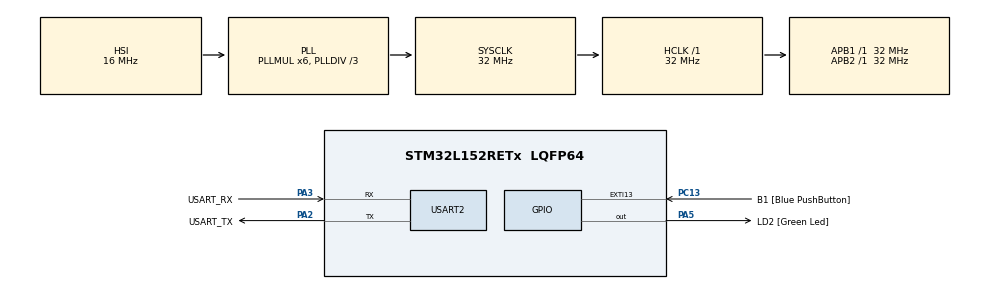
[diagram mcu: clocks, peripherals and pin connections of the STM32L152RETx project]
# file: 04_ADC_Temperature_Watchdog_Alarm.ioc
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ADC.Channel-0\#ChannelRegularConversion=ADC_CHANNEL_TEMPSENSOR
ADC.Channel-1\#ChannelRegularConversion=ADC_CHANNEL_VREFINT
ADC.ContinuousConvMode=ENABLE
ADC.DMAContinuousRequests=ENABLE
ADC.EOCSelection=ADC_EOC_SEQ_CONV
ADC.EnableAnalogWatchDog=true
ADC.ITMode=ENABLE
ADC.NbrOfConversion=2
ADC.NbrOfConversionFlag=1
ADC.Rank-0\#ChannelRegularConversion=1
ADC.Rank-1\#ChannelRegularConversion=2
ADC.SamplingTime-0\#ChannelRegularConversion=ADC_SAMPLETIME_384CYCLES
ADC.SamplingTime-1\#ChannelRegularConversion=ADC_SAMPLETIME_384CYCLES
ADC.ScanConvMode=ADC_SCAN_ENABLE
ADC.WatchdogChannel=ADC_CHANNEL_TEMPSENSOR
Dma.ADC.0.Direction=DMA_PERIPH_TO_MEMORY
Dma.ADC.0.Instance=DMA1_Channel1
Dma.ADC.0.MemDataAlignment=DMA_MDATAALIGN_HALFWORD
Dma.ADC.0.MemInc=DMA_MINC_ENABLE
Dma.ADC.0.Mode=DMA_CIRCULAR
Dma.ADC.0.PeriphDataAlignment=DMA_PDATAALIGN_HALFWORD
Dma.ADC.0.PeriphInc=DMA_PINC_DISABLE
Dma.ADC.0.Priority=DMA_PRIORITY_VERY_HIGH
Dma.Request0=ADC
Mcu.Family=STM32L1
Mcu.Name=STM32L152RETx
Mcu.Package=LQFP64
NVIC.ADC1_IRQn=true\:0\:0\:false\:false\:true\:true\:true\:true
NVIC.DMA1_Channel1_IRQn=true\:0\:0\:false\:false\:true\:false\:true\:true
NVIC.PriorityGroup=NVIC_PRIORITYGROUP_0
PA13.GPIO_Label=TMS
PA13.Mode=Serial_Wire
PA13.Signal=SYS_JTMS-SWDIO
PA14.GPIO_Label=TCK
PA14.Mode=Serial_Wire
PA14.Signal=SYS_JTCK-SWCLK
PA2.GPIO_Label=USART_TX
PA2.Mode=Asynchronous
PA2.Signal=USART2_TX
PA3.GPIO_Label=USART_RX
PA3.Mode=Asynchronous
PA3.Signal=USART2_RX
PA5.GPIO_Label=LD2 [Green Led]
PA5.Signal=GPIO_Output
PB3.GPIO_Label=SWO
PB3.Signal=SYS_JTDO-TRACESWO
PC13-WKUP2.GPIO_Label=B1 [Blue PushButton]
PC13-WKUP2.Signal=GPXTI13
PC14-OSC32_IN.Mode=LSE-External-Oscillator
PC14-OSC32_IN.Signal=RCC_OSC32_IN
PC15-OSC32_OUT.Mode=LSE-External-Oscillator
PC15-OSC32_OUT.Signal=RCC_OSC32_OUT
PH0-OSC_IN.Mode=HSE-External-Clock-Source
PH0-OSC_IN.Signal=RCC_OSC_IN
PH1-OSC_OUT.Signal=RCC_OSC_OUT
ProjectManager.HeapSize=0x200
ProjectManager.StackSize=0x400
ProjectManager.TargetToolchain=Makefile
RCC.48MHZClocksFreq_Value=48000000
RCC.AHBFreq_Value=32000000
RCC.APB1Freq_Value=32000000
RCC.APB1TimFreq_Value=32000000
RCC.APB2Freq_Value=32000000
RCC.APB2TimFreq_Value=32000000
RCC.HCLKFreq_Value=32000000
RCC.HSE_VALUE=8000000
RCC.HSI_VALUE=16000000
RCC.MSI_VALUE=2097000
RCC.PLLDIV=RCC_PLL_DIV3
RCC.PLLMUL=RCC_PLL_MUL6
RCC.RTCClockSelectionVirtual=RCC_RTCCLKSOURCE_LSE
RCC.SYSCLKFreq_VALUE=32000000
RCC.SYSCLKSource=RCC_SYSCLKSOURCE_PLLCLK
RCC.USBOutput=48000000
RCC.VCOOutputFreq_Value=96000000
USART2.VirtualMode=VM_ASYNC
VP_ADC_TempSens_Input.Mode=IN-TempSens
VP_ADC_Vref_Input.Mode=IN-Vrefint
board=NUCLEO-L152RE

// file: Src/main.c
/* USER CODE BEGIN Header */
/**
  ******************************************************************************
  * @file           : main.c
  * @brief          : Main program body
  ******************************************************************************
  * @attention
  *
  * Copyright (c) 2026 STMicroelectronics.
  * All rights reserved.
  *
  * This software is licensed under terms that can be found in the LICENSE file
  * in the root directory of this software component.
  * If no LICENSE file comes with this software, it is provided AS-IS.
  *
  ******************************************************************************
  */
/* USER CODE END Header */
#include "main.h"

/* USER CODE BEGIN Includes */
#include "app.h"
#include "stm32l1xx_hal_adc.h"
#include <stdint.h>
/* USER CODE END Includes */

ADC_HandleTypeDef hadc;
DMA_HandleTypeDef hdma_adc;

UART_HandleTypeDef huart2;

void SystemClock_Config(void);
static void MX_GPIO_Init(void);
static void MX_DMA_Init(void);
static void MX_ADC_Init(void);
static void MX_USART2_UART_Init(void);

/* USER CODE BEGIN 0 */
int _write(int file, char *ptr, int len) {
  HAL_UART_Transmit(&huart2, (uint8_t *)ptr, len, HAL_MAX_DELAY);
  return len;
}
float calculate_vref(uint16_t vref_raw) {
    uint16_t vref_cal = VREFINT_CAL_ADDR;

    // Calculate actual Vdda rail voltage in Volts
    float vref = 3.0f * ((float)vref_cal / (float)vref_raw);

    return vref;
}
uint16_t calculate_temperature_threshold(float temperature, uint16_t vref_raw) {
    uint16_t cal1 = TS_CAL1_ADDR;
    uint16_t cal2 = TS_CAL2_ADDR;

    // Calculate slope: ADC counts per degree Celsius at 3.0V Vdda
    float slope = ((float)cal2 - (float)cal1) / (TS_CAL2_CELSIUS - TS_CAL1_CELSIUS);

    // Calculate raw threshold at 32°C (3.0V Vdda)
    float raw_3v = (float)cal1 + (slope * (temperature - TS_CAL1_CELSIUS));

    float vref = calculate_vref(vref_raw);
    // Scale for actual system Vdda (e.g., 3.3V)
    float raw_actual = raw_3v * (3.0f / vref);

    return (uint16_t)raw_actual;
}
/* USER CODE END 0 */

int main(void)
{

  /* MCU Configuration--------------------------------------------------------*/

  /* Reset of all peripherals, Initializes the Flash interface and the Systick. */
  HAL_Init();

  /* Configure the system clock */
  SystemClock_Config();

  /* Initialize all configured peripherals */
  MX_GPIO_Init();
  MX_DMA_Init();
  MX_ADC_Init();
  MX_USART2_UART_Init();

  /* Infinite loop */
  /* USER CODE BEGIN WHILE */
  app_main();
    /* USER CODE END WHILE */

}

void SystemClock_Config(void)
{
  RCC_OscInitTypeDef RCC_OscInitStruct = {0};
  RCC_ClkInitTypeDef RCC_ClkInitStruct = {0};

  /** Configure the main internal regulator output voltage
  */
  __HAL_PWR_VOLTAGESCALING_CONFIG(PWR_REGULATOR_VOLTAGE_SCALE1);

  /** Initializes the RCC Oscillators according to the specified parameters
  * in the RCC_OscInitTypeDef structure.
  */
  RCC_OscInitStruct.OscillatorType = RCC_OSCILLATORTYPE_HSI;
  RCC_OscInitStruct.HSIState = RCC_HSI_ON;
  RCC_OscInitStruct.HSICalibrationValue = RCC_HSICALIBRATION_DEFAULT;
  RCC_OscInitStruct.PLL.PLLState = RCC_PLL_ON;
  RCC_OscInitStruct.PLL.PLLSource = RCC_PLLSOURCE_HSI;
  RCC_OscInitStruct.PLL.PLLMUL = RCC_PLL_MUL6;
  RCC_OscInitStruct.PLL.PLLDIV = RCC_PLL_DIV3;
  if (HAL_RCC_OscConfig(&RCC_OscInitStruct) != HAL_OK)
  {
    Error_Handler();
  }

  /** Initializes the CPU, AHB and APB buses clocks
  */
  RCC_ClkInitStruct.ClockType = RCC_CLOCKTYPE_HCLK|RCC_CLOCKTYPE_SYSCLK
                              |RCC_CLOCKTYPE_PCLK1|RCC_CLOCKTYPE_PCLK2;
  RCC_ClkInitStruct.SYSCLKSource = RCC_SYSCLKSOURCE_PLLCLK;
  RCC_ClkInitStruct.AHBCLKDivider = RCC_SYSCLK_DIV1;
  RCC_ClkInitStruct.APB1CLKDivider = RCC_HCLK_DIV1;
  RCC_ClkInitStruct.APB2CLKDivider = RCC_HCLK_DIV1;

  if (HAL_RCC_ClockConfig(&RCC_ClkInitStruct, FLASH_LATENCY_1) != HAL_OK)
  {
    Error_Handler();
  }
}

static void MX_ADC_Init(void)
{

  ADC_AnalogWDGConfTypeDef AnalogWDGConfig = {0};
  ADC_ChannelConfTypeDef sConfig = {0};

  /** Configure the global features of the ADC (Clock, Resolution, Data Alignment and number of conversion)
  */
  hadc.Instance = ADC1;
  hadc.Init.ClockPrescaler = ADC_CLOCK_ASYNC_DIV1;
  hadc.Init.Resolution = ADC_RESOLUTION_12B;
  hadc.Init.DataAlign = ADC_DATAALIGN_RIGHT;
  hadc.Init.ScanConvMode = ADC_SCAN_ENABLE;
  hadc.Init.EOCSelection = ADC_EOC_SEQ_CONV;
  hadc.Init.LowPowerAutoWait = ADC_AUTOWAIT_DISABLE;
  hadc.Init.LowPowerAutoPowerOff = ADC_AUTOPOWEROFF_DISABLE;
  hadc.Init.ChannelsBank = ADC_CHANNELS_BANK_A;
  hadc.Init.ContinuousConvMode = ENABLE;
  hadc.Init.NbrOfConversion = 2;
  hadc.Init.DiscontinuousConvMode = DISABLE;
  hadc.Init.ExternalTrigConv = ADC_SOFTWARE_START;
  hadc.Init.ExternalTrigConvEdge = ADC_EXTERNALTRIGCONVEDGE_NONE;
  hadc.Init.DMAContinuousRequests = ENABLE;
  if (HAL_ADC_Init(&hadc) != HAL_OK)
  {
    Error_Handler();
  }

  /** Configure the analog watchdog
  */
  AnalogWDGConfig.WatchdogMode = ADC_ANALOGWATCHDOG_SINGLE_REG;
  AnalogWDGConfig.Channel = ADC_CHANNEL_TEMPSENSOR;
  AnalogWDGConfig.ITMode = ENABLE;
  AnalogWDGConfig.HighThreshold = 0;
  AnalogWDGConfig.LowThreshold = 0;
  if (HAL_ADC_AnalogWDGConfig(&hadc, &AnalogWDGConfig) != HAL_OK)
  {
    Error_Handler();
  }

  /** Configure for the selected ADC regular channel its corresponding rank in the sequencer and its sample time.
  */
  sConfig.Channel = ADC_CHANNEL_TEMPSENSOR;
  sConfig.Rank = ADC_REGULAR_RANK_1;
  sConfig.SamplingTime = ADC_SAMPLETIME_384CYCLES;
  if (HAL_ADC_ConfigChannel(&hadc, &sConfig) != HAL_OK)
  {
    Error_Handler();
  }

  /** Configure for the selected ADC regular channel its corresponding rank in the sequencer and its sample time.
  */
  sConfig.Channel = ADC_CHANNEL_VREFINT;
  sConfig.Rank = ADC_REGULAR_RANK_2;
  if (HAL_ADC_ConfigChannel(&hadc, &sConfig) != HAL_OK)
  {
    Error_Handler();
  }

}

static void MX_USART2_UART_Init(void)
{

  huart2.Instance = USART2;
  huart2.Init.BaudRate = 115200;
  huart2.Init.WordLength = UART_WORDLENGTH_8B;
  huart2.Init.StopBits = UART_STOPBITS_1;
  huart2.Init.Parity = UART_PARITY_NONE;
  huart2.Init.Mode = UART_MODE_TX_RX;
  huart2.Init.HwFlowCtl = UART_HWCONTROL_NONE;
  huart2.Init.OverSampling = UART_OVERSAMPLING_16;
  if (HAL_UART_Init(&huart2) != HAL_OK)
  {
    Error_Handler();
  }

}

static void MX_DMA_Init(void)
{

  /* DMA controller clock enable */
  __HAL_RCC_DMA1_CLK_ENABLE();

  /* DMA interrupt init */
  /* DMA1_Channel1_IRQn interrupt configuration */
  HAL_NVIC_SetPriority(DMA1_Channel1_IRQn, 0, 0);
  HAL_NVIC_EnableIRQ(DMA1_Channel1_IRQn);

}

static void MX_GPIO_Init(void)
{
  GPIO_InitTypeDef GPIO_InitStruct = {0};

  /* GPIO Ports Clock Enable */
  __HAL_RCC_GPIOC_CLK_ENABLE();
  __HAL_RCC_GPIOH_CLK_ENABLE();
  __HAL_RCC_GPIOA_CLK_ENABLE();
  __HAL_RCC_GPIOB_CLK_ENABLE();

  /*Configure GPIO pin Output Level */
  HAL_GPIO_WritePin(LD2_GPIO_Port, LD2_Pin, GPIO_PIN_RESET);

  /*Configure GPIO pin : B1_Pin */
  GPIO_InitStruct.Pin = B1_Pin;
  GPIO_InitStruct.Mode = GPIO_MODE_IT_RISING;
  GPIO_InitStruct.Pull = GPIO_NOPULL;
  HAL_GPIO_Init(B1_GPIO_Port, &GPIO_InitStruct);

  /*Configure GPIO pin : LD2_Pin */
  GPIO_InitStruct.Pin = LD2_Pin;
  GPIO_InitStruct.Mode = GPIO_MODE_OUTPUT_PP;
  GPIO_InitStruct.Pull = GPIO_NOPULL;
  GPIO_InitStruct.Speed = GPIO_SPEED_FREQ_LOW;
  HAL_GPIO_Init(LD2_GPIO_Port, &GPIO_InitStruct);

}

void Error_Handler(void)
{
  __disable_irq();
  while (1)
  {
  }
}
